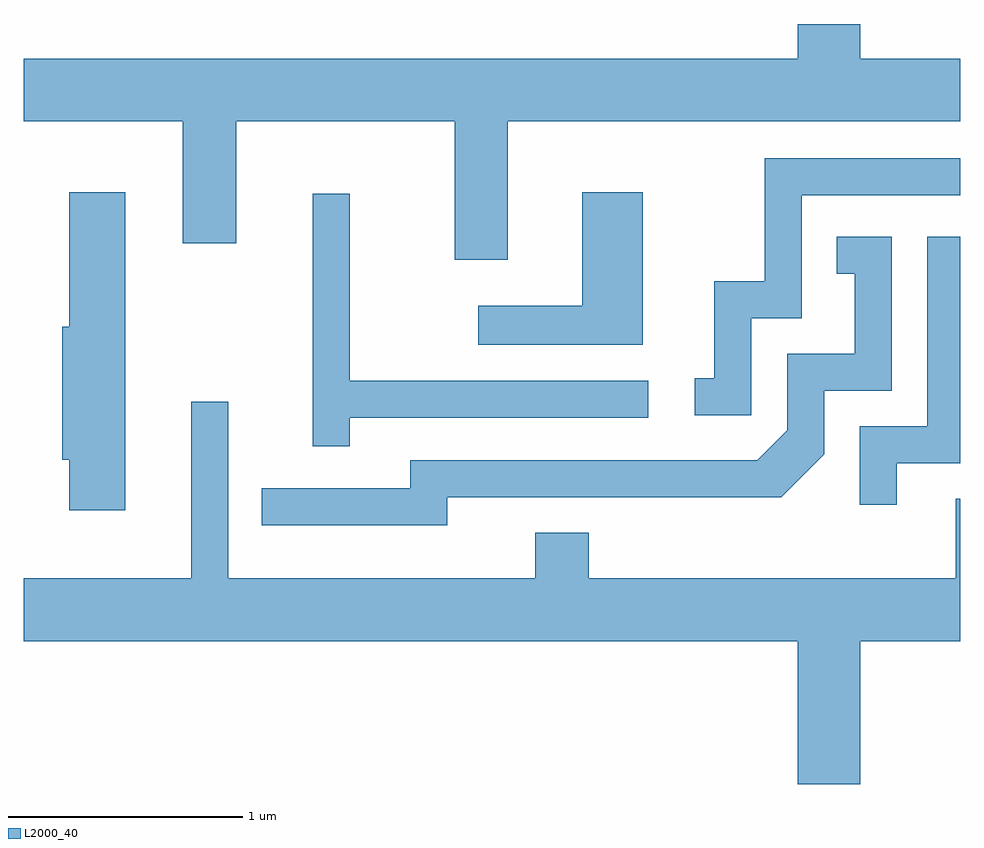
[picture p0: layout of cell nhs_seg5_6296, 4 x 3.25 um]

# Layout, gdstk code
import gdstk
lib = gdstk.Library(unit=1e-6, precision=1e-09)
def P(c, l, *ps):  # polygons
    for p in ps: c.add(gdstk.Polygon(p, *l))
L2000_40 = (2000, 40)

nhs_seg5_6296 = lib.new_cell('nhs_seg5_6296')
P(nhs_seg5_6296, L2000_40, [(373.679,1485.656),(375.611,1485.656),(375.611,1485.924),(375.184,1485.924),(375.184,1486.072),(374.916,1486.072),(374.916,1485.924),(371.611,1485.924),(371.611,1485.656),(372.291,1485.656),(372.291,1485.136),(372.519,1485.136),(372.519,1485.656),(373.451,1485.656),(373.451,1485.066),(373.679,1485.066)],
  [(374.719,1484.816),(374.934,1484.816),(374.934,1485.341),(375.611,1485.341),(375.611,1485.499),(374.776,1485.499),(374.776,1484.974),(374.561,1484.974),(374.561,1484.559),(374.478,1484.559),(374.478,1484.401),(374.719,1484.401)],
  [(372.044,1485.354),(371.806,1485.354),(371.806,1484.779),(371.776,1484.779),(371.776,1484.211),(371.806,1484.211),(371.806,1483.996),(372.044,1483.996)],
  [(374.254,1485.354),(373.996,1485.354),(373.996,1484.869),(373.553,1484.869),(373.553,1484.701),(374.254,1484.701)],
  [(373.004,1484.391),(374.278,1484.391),(374.278,1484.549),(373.004,1484.549),(373.004,1485.348),(372.846,1485.348),(372.846,1484.268),(373.004,1484.268)],
  [(373.419,1484.051),(374.847,1484.051),(375.029,1484.234),(375.029,1484.506),(375.319,1484.506),(375.319,1485.164),(375.083,1485.164),(375.083,1485.006),(375.161,1485.006),(375.161,1484.664),(374.871,1484.664),(374.871,1484.337),(374.744,1484.209),(373.261,1484.209),(373.261,1484.089),(372.628,1484.089),(372.628,1483.931),(373.419,1483.931)],
  [(375.339,1484.196),(375.611,1484.196),(375.611,1485.164),(375.471,1485.164),(375.471,1484.354),(375.181,1484.354),(375.181,1484.018),(375.339,1484.018)],
  [(375.184,1483.436),(375.611,1483.436),(375.611,1484.044),(375.591,1484.044),(375.591,1483.704),(374.024,1483.704),(374.024,1483.899),(373.796,1483.899),(373.796,1483.704),(372.484,1483.704),(372.484,1484.458),(372.326,1484.458),(372.326,1483.704),(371.611,1483.704),(371.611,1483.436),(374.916,1483.436),(374.916,1482.826),(375.184,1482.826)])

lib.write_gds('nhs_seg5_6296.gds')
